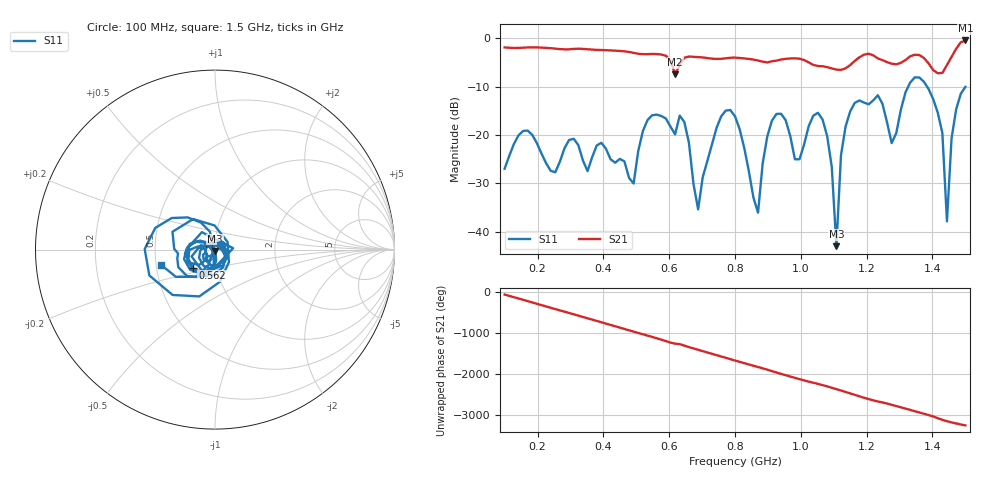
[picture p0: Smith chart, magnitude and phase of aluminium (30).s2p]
! NanoVNA-App
! Date: 2025-09-25 14:55:30
! Start: 100MHz Stop: 1,5GHz Points: 101
! S-Parameter data: F S11 S21 S12 S22
# Hz S RI R 50
!  Frequency  S11_Real  S11_Imag  S21_Real  S21_Imag  S12_Real  S12_Imag  S22_Real  S22_Imag
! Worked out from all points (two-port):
!   101 points, 100 MHz to 1.5 GHz, reference 50 ohm
!   highest |S21| = -0.48 dB at 1.5 GHz (marker M1); lowest = -7.4 dB at 618 MHz (marker M2)
!   |S21| within 3 dB of the highest: start of sweep to 580.9 MHz; 1.461 GHz to end of sweep (the widest 2 of 4)
!   lowest |S11| = -43.0 dB at 1.108 GHz (marker M3), VSWR 1.01, Z = 50 - j0.706 ohm
!   |S11| at or under -10 dB: start of sweep to 1.327 GHz; 1.383 GHz to end of sweep
!   S12 and S22 are empty: the file has one direction only
!   S11 on the Smith chart (normalised r, x): 100 MHz: 1.07, +0.06; 562 MHz: 0.76, -0.16; 1.5 GHz: 0.53, -0.10
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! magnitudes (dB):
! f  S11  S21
! 100 MHz  -27.0  -1.9
! 338 MHz  -25.3  -2.2
! 492 MHz  -30.1  -3.1
! 562 MHz  -15.8  -3.3
! 576 MHz  -16.1  -3.4
! 618 MHz  -19.9  -7.4
! 646 MHz  -17.3  -4.1
! 688 MHz  -35.4  -3.9
! 800 MHz  -16.2  -4.0
! 870 MHz  -36.1  -4.6
! 912 MHz  -17.1  -4.8
! 1.038 GHz  -16.0  -5.5
! 1.08 GHz  -20.2  -6.0
! 1.108 GHz  -43.0  -6.5
! 1.122 GHz  -24.2  -6.6
! 1.15 GHz  -15.1  -5.6
! 1.276 GHz  -21.7  -5.3
! 1.374 GHz  -9.0  -4.1
! 1.43 GHz  -19.6  -7.2
! 1.444 GHz  -37.9  -5.6
! 1.458 GHz  -20.7  -3.9
! 1.5 GHz  -10.1  -0.5
